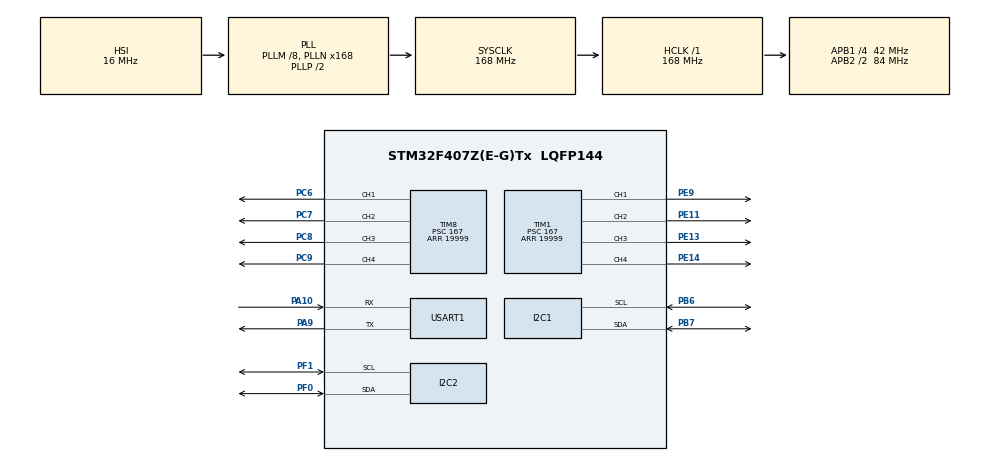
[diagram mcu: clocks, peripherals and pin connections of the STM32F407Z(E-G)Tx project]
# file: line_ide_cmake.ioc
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Dma.Request0=USART1_RX
Dma.Request1=USART1_TX
Dma.USART1_RX.0.Direction=DMA_PERIPH_TO_MEMORY
Dma.USART1_RX.0.FIFOMode=DMA_FIFOMODE_DISABLE
Dma.USART1_RX.0.Instance=DMA2_Stream2
Dma.USART1_RX.0.MemDataAlignment=DMA_MDATAALIGN_BYTE
Dma.USART1_RX.0.MemInc=DMA_MINC_ENABLE
Dma.USART1_RX.0.Mode=DMA_NORMAL
Dma.USART1_RX.0.PeriphDataAlignment=DMA_PDATAALIGN_BYTE
Dma.USART1_RX.0.PeriphInc=DMA_PINC_DISABLE
Dma.USART1_RX.0.Priority=DMA_PRIORITY_LOW
Dma.USART1_TX.1.Direction=DMA_MEMORY_TO_PERIPH
Dma.USART1_TX.1.FIFOMode=DMA_FIFOMODE_DISABLE
Dma.USART1_TX.1.Instance=DMA2_Stream7
Dma.USART1_TX.1.MemDataAlignment=DMA_MDATAALIGN_BYTE
Dma.USART1_TX.1.MemInc=DMA_MINC_ENABLE
Dma.USART1_TX.1.Mode=DMA_NORMAL
Dma.USART1_TX.1.PeriphDataAlignment=DMA_PDATAALIGN_BYTE
Dma.USART1_TX.1.PeriphInc=DMA_PINC_DISABLE
Dma.USART1_TX.1.Priority=DMA_PRIORITY_LOW
Mcu.Family=STM32F4
Mcu.Name=STM32F407Z(E-G)Tx
Mcu.Package=LQFP144
NVIC.DMA2_Stream2_IRQn=true\:0\:0\:false\:false\:true\:false\:true\:true
NVIC.DMA2_Stream7_IRQn=true\:0\:0\:false\:false\:true\:false\:true\:true
NVIC.PriorityGroup=NVIC_PRIORITYGROUP_4
NVIC.USART1_IRQn=true\:0\:0\:false\:false\:true\:true\:true\:true
PA10.Mode=Asynchronous
PA10.Signal=USART1_RX
PA13.Mode=Serial_Wire
PA13.Signal=SYS_JTMS-SWDIO
PA14.Mode=Serial_Wire
PA14.Signal=SYS_JTCK-SWCLK
PA9.Mode=Asynchronous
PA9.Signal=USART1_TX
PB6.Mode=I2C
PB6.Signal=I2C1_SCL
PB7.Mode=I2C
PB7.Signal=I2C1_SDA
PC6.Signal=S_TIM8_CH1
PC7.Signal=S_TIM8_CH2
PC8.Signal=S_TIM8_CH3
PC9.Signal=S_TIM8_CH4
PE11.Signal=S_TIM1_CH2
PE13.Signal=S_TIM1_CH3
PE14.Signal=S_TIM1_CH4
PE9.Signal=S_TIM1_CH1
PF0.Mode=I2C
PF0.Signal=I2C2_SDA
PF1.Mode=I2C
PF1.Signal=I2C2_SCL
PH0-OSC_IN.Mode=HSE-External-Oscillator
PH0-OSC_IN.Signal=RCC_OSC_IN
PH1-OSC_OUT.Mode=HSE-External-Oscillator
PH1-OSC_OUT.Signal=RCC_OSC_OUT
ProjectManager.HeapSize=0x200
ProjectManager.StackSize=0x400
ProjectManager.TargetToolchain=CMake
RCC.48MHZClocksFreq_Value=84000000
RCC.AHBFreq_Value=168000000
RCC.APB1CLKDivider=RCC_HCLK_DIV4
RCC.APB1Freq_Value=42000000
RCC.APB1TimFreq_Value=84000000
RCC.APB2CLKDivider=RCC_HCLK_DIV2
RCC.APB2Freq_Value=84000000
RCC.APB2TimFreq_Value=168000000
RCC.CortexFreq_Value=168000000
RCC.HCLKFreq_Value=168000000
RCC.HSE_VALUE=25000000
RCC.HSI_VALUE=16000000
RCC.LSE_VALUE=32768
RCC.PLLM=8
RCC.PLLN=168
RCC.SYSCLKFreq_VALUE=168000000
RCC.SYSCLKSource=RCC_SYSCLKSOURCE_PLLCLK
RCC.VCOOutputFreq_Value=336000000
SH.S_TIM1_CH1.0=TIM1_CH1,PWM Generation1 CH1
SH.S_TIM1_CH2.0=TIM1_CH2,PWM Generation2 CH2
SH.S_TIM1_CH3.0=TIM1_CH3,PWM Generation3 CH3
SH.S_TIM1_CH4.0=TIM1_CH4,PWM Generation4 CH4
SH.S_TIM8_CH1.0=TIM8_CH1,PWM Generation1 CH1
SH.S_TIM8_CH2.0=TIM8_CH2,PWM Generation2 CH2
SH.S_TIM8_CH3.0=TIM8_CH3,PWM Generation3 CH3
SH.S_TIM8_CH4.0=TIM8_CH4,PWM Generation4 CH4
TIM1.Channel-PWM\ Generation1\ CH1=TIM_CHANNEL_1
TIM1.Channel-PWM\ Generation2\ CH2=TIM_CHANNEL_2
TIM1.Channel-PWM\ Generation3\ CH3=TIM_CHANNEL_3
TIM1.Channel-PWM\ Generation4\ CH4=TIM_CHANNEL_4
TIM1.OCPolarity_2=TIM_OCPOLARITY_HIGH
TIM1.Period=19999
TIM1.Prescaler=167
TIM1.Pulse-PWM\ Generation1\ CH1=1500
TIM1.Pulse-PWM\ Generation2\ CH2=1500
TIM1.Pulse-PWM\ Generation3\ CH3=1500
TIM1.Pulse-PWM\ Generation4\ CH4=1500
TIM8.Channel-PWM\ Generation1\ CH1=TIM_CHANNEL_1
TIM8.Channel-PWM\ Generation2\ CH2=TIM_CHANNEL_2
TIM8.Channel-PWM\ Generation3\ CH3=TIM_CHANNEL_3
TIM8.Channel-PWM\ Generation4\ CH4=TIM_CHANNEL_4
TIM8.Period=19999
TIM8.Prescaler=167
TIM8.Pulse-PWM\ Generation1\ CH1=1500
TIM8.Pulse-PWM\ Generation2\ CH2=1500
TIM8.Pulse-PWM\ Generation3\ CH3=1500
TIM8.Pulse-PWM\ Generation4\ CH4=1500
USART1.VirtualMode=VM_ASYNC
VP_TIM1_VS_ClockSourceINT.Mode=Internal
VP_TIM8_VS_ClockSourceINT.Mode=Internal
board=custom

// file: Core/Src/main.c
/* USER CODE BEGIN Header */
/**
  ******************************************************************************
  * @file           : main.c
  * @brief          : Main program body
  ******************************************************************************
  * @attention
  *
  * Copyright (c) 2026 STMicroelectronics.
  * All rights reserved.
  *
  * This software is licensed under terms that can be found in the LICENSE file
  * in the root directory of this software component.
  * If no LICENSE file comes with this software, it is provided AS-IS.
  *
  ******************************************************************************
  */
/* USER CODE END Header */
#include "main.h"
#include "dma.h"
#include "i2c.h"
#include "stm32f4xx_hal.h"
#include "tim.h"
#include "usart.h"
#include "gpio.h"

/* USER CODE BEGIN Includes */
#include <stdio.h>
#include <string.h>
/* USER CODE END Includes */

/* USER CODE BEGIN PV */
uint8_t  receivedata[64];
volatile uint8_t  rx_ready = 0;   // ISR 里置 1，主循环清 0
volatile uint16_t rx_len   = 0;
/* USER CODE END PV */

void SystemClock_Config(void);

/* USER CODE BEGIN 0 */
/*
// ---- 旧代码（保留，已注释）----
void HAL_UARTEx_RxEventCallback(UART_HandleTypeDef *huart, uint16_t Size)
{
  if(huart== &huart1)
  {
      HAL_UART_Transmit_DMA(&huart1, receivedata, Size);
//      __HAL_DMA_DISABLE_IT(&hdma_usart1_rx,DMA_IT_HT);
  }
}
void HAL_UART_TxCpltCallback(UART_HandleTypeDef *huart)
{
    if (huart->Instance != USART1) return;

    if (HAL_UARTEx_ReceiveToIdle_DMA(huart, receivedata,
                                    sizeof(receivedata)) != HAL_OK)
    {
        Error_Handler();
    }

    __HAL_DMA_DISABLE_IT(huart->hdmarx, DMA_IT_HT);
}
*/

void parse_command(char *cmd)
{
    int tim, ch, val;

    // 期望格式：p<1|8>c<1..4> <值>，例如 "p1c1 1600"
    if (sscanf(cmd, "p%dc%d %d", &tim, &ch, &val) != 3)
    {
        HAL_UART_Transmit(&huart1, (uint8_t*)"bad\r\n", 5, 100);
        return;
    }

    TIM_HandleTypeDef *htim;
    switch (tim)
    {
        case 1:  htim = &htim1; break;
        case 8:  htim = &htim8; break;
        default:
            HAL_UART_Transmit(&huart1, (uint8_t*)"bad tim\r\n", 9, 100);
            return;
    }

    uint32_t channel;
    switch (ch)
    {
        case 1: channel = TIM_CHANNEL_1; break;
        case 2: channel = TIM_CHANNEL_2; break;
        case 3: channel = TIM_CHANNEL_3; break;
        case 4: channel = TIM_CHANNEL_4; break;
        default:
            HAL_UART_Transmit(&huart1, (uint8_t*)"bad ch\r\n", 8, 100);
            return;
    }

    if (val < 0 || val > 19999) val = 1500;

    __HAL_TIM_SET_COMPARE(htim, channel, (uint32_t)val);

    char ack[32];
    int n = sprintf(ack, "p%dc%d -> %d\r\n", tim, ch, val);
    HAL_UART_Transmit(&huart1, (uint8_t*)ack, n, 100);
}

void HAL_UARTEx_RxEventCallback(UART_HandleTypeDef *huart, uint16_t Size)
{
    if (huart != &huart1) return;
    rx_len   = Size;
    rx_ready = 1;
}
/* USER CODE END 0 */

int main(void)
{

  /* MCU Configuration--------------------------------------------------------*/

  /* Reset of all peripherals, Initializes the Flash interface and the Systick. */
  HAL_Init();

  /* Configure the system clock */
  SystemClock_Config();

  /* Initialize all configured peripherals */
  MX_GPIO_Init();
  MX_DMA_Init();
  MX_TIM1_Init();
  MX_I2C1_Init();
  MX_I2C2_Init();
  MX_TIM8_Init();
  MX_USART1_UART_Init();
  /* USER CODE BEGIN 2 */
  // HAL_TIM_PWM_Start(&htim1, TIM_CHANNEL_1);   // 旧代码（保留，已注释）
  // HAL_TIM_PWM_Start(&htim1, TIM_CHANNEL_2);
  // HAL_TIM_PWM_Start(&htim1, TIM_CHANNEL_3);
  // HAL_TIM_PWM_Start(&htim1, TIM_CHANNEL_4);
  // HAL_TIM_PWM_Start(&htim8, TIM_CHANNEL_1);
  // HAL_TIM_PWM_Start(&htim8, TIM_CHANNEL_2);
  // HAL_TIM_PWM_Start(&htim8, TIM_CHANNEL_3);
  // HAL_TIM_PWM_Start(&htim8, TIM_CHANNEL_4);
  HAL_TIM_PWM_Start(&htim1, TIM_CHANNEL_1);
  HAL_TIM_PWM_Start(&htim1, TIM_CHANNEL_2);
  HAL_TIM_PWM_Start(&htim1, TIM_CHANNEL_3);
  HAL_TIM_PWM_Start(&htim1, TIM_CHANNEL_4);
  HAL_TIM_PWM_Start(&htim8, TIM_CHANNEL_1);
  HAL_TIM_PWM_Start(&htim8, TIM_CHANNEL_2);
  HAL_TIM_PWM_Start(&htim8, TIM_CHANNEL_3);
  HAL_TIM_PWM_Start(&htim8, TIM_CHANNEL_4);
  HAL_Delay(3000);
__HAL_TIM_SET_COMPARE(&htim1, TIM_CHANNEL_1, 1470);
 HAL_Delay(1000);
 __HAL_TIM_SET_COMPARE(&htim1, TIM_CHANNEL_1, 1500);
 HAL_Delay(1000);
 __HAL_TIM_SET_COMPARE(&htim1, TIM_CHANNEL_1, 1470);
 HAL_Delay(1000);
  __HAL_TIM_SET_COMPARE(&htim1, TIM_CHANNEL_2, 1470);
// // //  HAL_Delay(1000);
  __HAL_TIM_SET_COMPARE(&htim1, TIM_CHANNEL_3, 1470);
// // //  HAL_Delay(1000);
  __HAL_TIM_SET_COMPARE(&htim1, TIM_CHANNEL_4, 1470);
// // //  HAL_Delay(1000);
  __HAL_TIM_SET_COMPARE(&htim8, TIM_CHANNEL_1, 1470);
// // //  HAL_Delay(1000);
  __HAL_TIM_SET_COMPARE(&htim8, TIM_CHANNEL_2, 1470);
// // //  HAL_Delay(1000);
  __HAL_TIM_SET_COMPARE(&htim8, TIM_CHANNEL_3, 1470);
// //  HAL_Delay(1000);
  __HAL_TIM_SET_COMPARE(&htim8, TIM_CHANNEL_4, 1470);
  HAL_Delay(3000);
  __HAL_TIM_SET_COMPARE(&htim1, TIM_CHANNEL_1, 1500);
  __HAL_TIM_SET_COMPARE(&htim1, TIM_CHANNEL_2, 1500);
// // //  HAL_Delay(1000);
  __HAL_TIM_SET_COMPARE(&htim1, TIM_CHANNEL_3, 1500);
// // //  HAL_Delay(1000);
  __HAL_TIM_SET_COMPARE(&htim1, TIM_CHANNEL_4, 1500);
  __HAL_TIM_SET_COMPARE(&htim8, TIM_CHANNEL_1, 1500);
// // //  HAL_Delay(1000);
  __HAL_TIM_SET_COMPARE(&htim8, TIM_CHANNEL_2, 1500);
// // //  HAL_Delay(1000);
  __HAL_TIM_SET_COMPARE(&htim8, TIM_CHANNEL_3, 1500);
// //  HAL_Delay(1000);
  __HAL_TIM_SET_COMPARE(&htim8, TIM_CHANNEL_4, 1500);
  HAL_Delay(3000);
//  __HAL_TIM_SET_COMPARE(&htim1, TIM_CHANNEL_2, 1492);
//HAL_Delay(1000);
//for (uint16_t pwm = 1500; pwm <= 1600; pwm += 10)
//{
//  __HAL_TIM_SET_COMPARE(&htim8, TIM_CHANNEL_1, pwm);
//  HAL_Delay(500);
//}
//  __HAL_TIM_SET_COMPARE(&htim8, TIM_CHANNEL_1, 1470);
//  HAL_Delay(500);
////  __HAL_TIM_SET_COMPARE(&htim1, TIM_CHANNEL_1, 2000);
////    HAL_Delay(2000);
////    __HAL_TIM_SET_COMPARE(&htim1, TIM_CHANNEL_1, 1500);
////      HAL_Delay(2000);
////  __HAL_TIM_SET_COMPARE(&htim1, TIM_CHANNEL_1, 1500);
////  HAL_Delay(3000);
//  __HAL_TIM_SET_COMPARE(&htim1, TIM_CHANNEL_1, 1500);
//  HAL_Delay(2000);
//  GPIO_InitTypeDef GPIO_InitStruct = {0};
//
//  /* 先预置高电平，再切换为 GPIO 输出 */
//  HAL_GPIO_WritePin(GPIOE, GPIO_PIN_9, GPIO_PIN_SET);
//
//  GPIO_InitStruct.Pin = GPIO_PIN_9;
//  GPIO_InitStruct.Mode = GPIO_MODE_OUTPUT_PP;
//  GPIO_InitStruct.Pull = GPIO_NOPULL;
//  GPIO_InitStruct.Speed = GPIO_SPEED_FREQ_LOW;
//  HAL_GPIO_Init(GPIOE, &GPIO_InitStruct);

  //串口控制
  // const uint8_t hello[] = "hello\r\n";
  // HAL_UART_Transmit(&huart1, hello, sizeof(hello) - 1, 100);
  // HAL_UARTEx_ReceiveToIdle_DMA(&huart1, receivedata, sizeof(receivedata));
  // __HAL_DMA_DISABLE_IT(huart1.hdmarx, DMA_IT_HT);

  /* USER CODE END 2 */

  /* Infinite loop */
  /* USER CODE BEGIN WHILE */
  while (1)
  {
    //串口控制
    // if (rx_ready)
    // {
    //     rx_ready = 0;

    //     // 回显收到的原始数据（阻塞式，避免和 RX 抢缓冲区）
    //     HAL_UART_Transmit(&huart1, receivedata, rx_len, 100);

    //     if (rx_len < sizeof(receivedata))
    //         receivedata[rx_len] = '\0';
    //     else
    //         receivedata[sizeof(receivedata) - 1] = '\0';

    //     parse_command((char *)receivedata);

    //     HAL_UARTEx_ReceiveToIdle_DMA(&huart1, receivedata, sizeof(receivedata));
    //     __HAL_DMA_DISABLE_IT(huart1.hdmarx, DMA_IT_HT);
    // }

  // ---- 旧代码（保留，已注释）：原每 2 秒强制写 CH1，会覆盖串口设置 ----
  // __HAL_TIM_SET_COMPARE(&htim1, TIM_CHANNEL_1, 1700);
  // //  HAL_Delay(2000);
	// __HAL_TIM_SET_COMPARE(&htim1, TIM_CHANNEL_2, 1700);
  // //   HAL_Delay(2000);
	// __HAL_TIM_SET_COMPARE(&htim1, TIM_CHANNEL_3, 1700);
  // //   HAL_Delay(2000);
	// __HAL_TIM_SET_COMPARE(&htim1, TIM_CHANNEL_4, 1700);
  //   HAL_Delay(2000);
	// __HAL_TIM_SET_COMPARE(&htim8, TIM_CHANNEL_1, 1700);
  //   HAL_Delay(2000);l
	// __HAL_TIM_SET_COMPARE(&htim8, TIM_CHANNEL_2, 1700);
  //   HAL_Delay(2000);
  // __HAL_TIM_SET_COMPARE(&htim8, TIM_CHANNEL_3, 1700);
  //   HAL_Delay(2000);
	// __HAL_TIM_SET_COMPARE(&htim8, TIM_CHANNEL_4, 1700);
	  HAL_Delay(2000);

//  __HAL_TIM_SET_COMPARE(&htim8, TIM_CHANNEL_1, 1600);
//	HAL_Delay(500);
//  HAL_GPIO_WritePin(GPIOE, GPIO_PIN_9, GPIO_PIN_SET);
//    __HAL_TIM_SET_COMPARE(&htim1, TIM_CHANNEL_1, 10000);
//	HAL_Delay(2000);
//__HAL_TIM_SET_COMPARE(&htim8, TIM_CHANNEL_1, 1600);
//HAL_Delay(2000);
//__HAL_TIM_SET_COMPARE(&htim8, TIM_CHANNEL_2, 1600);
//HAL_Delay(2000);
//__HAL_TIM_SET_COMPARE(&htim8, TIM_CHANNEL_3, 1700);//未初始化成功
//HAL_Delay(2000);
//__HAL_TIM_SET_COMPARE(&htim8, TIM_CHANNEL_4, 1600);
//HAL_Delay(2000);

//  __HAL_TIM_SET_COMPARE(&htim1, TIM_CHANNEL_1, 10000);  /* 2.0 ms，3D 模式下接近正向满油门 */
//	// __HAL_TIM_SET_COMPARE(&htim1, TIM_CHANNEL_2, 1600U);
//	 __HAL_TIM_SET_COMPARE(&htim1, TIM_CHANNEL_1, 10000U);
//	// __HAL_TIM_SET_COMPARE(&htim1, TIM_CHANNEL_4, 1600U);
//	HAL_Delay(100);
//  for (uint16_t pwm = 1000; pwm <= 2000; pwm += 100)
//  {
//	  __HAL_TIM_SET_COMPARE(&htim1, TIM_CHANNEL_2, pwm);
//	  HAL_Delay(2000);   // 每个 PWM 值保持 2 秒
//  }

//	  __HAL_TIM_SET_COMPARE(&htim1, TIM_CHANNEL_1, pwm);
//	  HAL_Delay(200);   // 每个 PWM 值保持 2 秒

    /* USER CODE END WHILE */

  }
}

void SystemClock_Config(void)
{
  RCC_OscInitTypeDef RCC_OscInitStruct = {0};
  RCC_ClkInitTypeDef RCC_ClkInitStruct = {0};

  /** Configure the main internal regulator output voltage
  */
  __HAL_RCC_PWR_CLK_ENABLE();
  __HAL_PWR_VOLTAGESCALING_CONFIG(PWR_REGULATOR_VOLTAGE_SCALE1);

  /** Initializes the RCC Oscillators according to the specified parameters
  * in the RCC_OscInitTypeDef structure.
  */
  RCC_OscInitStruct.OscillatorType = RCC_OSCILLATORTYPE_HSI;
  RCC_OscInitStruct.HSIState = RCC_HSI_ON;
  RCC_OscInitStruct.HSICalibrationValue = RCC_HSICALIBRATION_DEFAULT;
  RCC_OscInitStruct.PLL.PLLState = RCC_PLL_ON;
  RCC_OscInitStruct.PLL.PLLSource = RCC_PLLSOURCE_HSI;
  RCC_OscInitStruct.PLL.PLLM = 8;
  RCC_OscInitStruct.PLL.PLLN = 168;
  RCC_OscInitStruct.PLL.PLLP = RCC_PLLP_DIV2;
  RCC_OscInitStruct.PLL.PLLQ = 4;
  if (HAL_RCC_OscConfig(&RCC_OscInitStruct) != HAL_OK)
  {
    Error_Handler();
  }

  /** Initializes the CPU, AHB and APB buses clocks
  */
  RCC_ClkInitStruct.ClockType = RCC_CLOCKTYPE_HCLK|RCC_CLOCKTYPE_SYSCLK
                              |RCC_CLOCKTYPE_PCLK1|RCC_CLOCKTYPE_PCLK2;
  RCC_ClkInitStruct.SYSCLKSource = RCC_SYSCLKSOURCE_PLLCLK;
  RCC_ClkInitStruct.AHBCLKDivider = RCC_SYSCLK_DIV1;
  RCC_ClkInitStruct.APB1CLKDivider = RCC_HCLK_DIV4;
  RCC_ClkInitStruct.APB2CLKDivider = RCC_HCLK_DIV2;

  if (HAL_RCC_ClockConfig(&RCC_ClkInitStruct, FLASH_LATENCY_5) != HAL_OK)
  {
    Error_Handler();
  }
}

void Error_Handler(void)
{
  __disable_irq();
  while (1)
  {
  }
}
